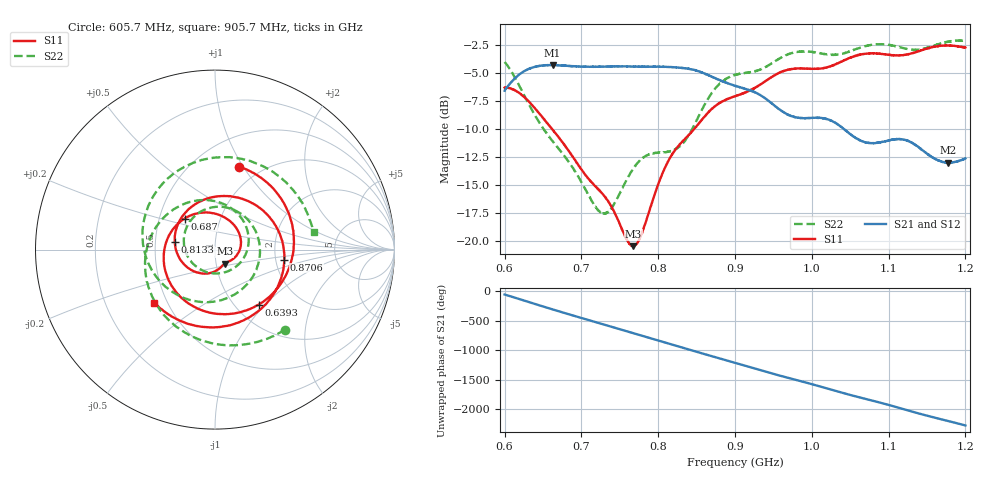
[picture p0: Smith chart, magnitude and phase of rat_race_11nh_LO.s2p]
# Hz S DB R 50
! CMT, M5065, 19127446, 23.4.5/2
! Date: 25/9/2024 16:14:58
! Data: Format (Calibration Info)
! Freq	S11:dB/Ang(--)	S21:dB/Ang(--)	S12:dB/Ang(--)	S22:dB/Ang(--)
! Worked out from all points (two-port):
!   2001 points, 600 MHz to 1.2 GHz, reference 50 ohm
!   highest |S21| = -4.30 dB at 662.4 MHz (marker M1); lowest = -13.0 dB at 1.177 GHz (marker M2)
!   |S21| within 3 dB of the highest: start of sweep to 939.8 MHz
!   lowest |S11| = -20.5 dB at 767.7 MHz (marker M3), VSWR 1.21, Z = 55 - j8.66 ohm
!   |S11| at or under -10 dB: 661.6 MHz to 846.8 MHz (185.3 MHz wide, 24.6 % of centre)
!   |S22| runs from -17.6 to -2.1 dB; largest |S21 - S12| = 0.012
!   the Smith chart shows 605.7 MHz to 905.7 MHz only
!   S11 on the Smith chart (normalised r, x): 605.7 MHz: 0.80, +0.96; 639.3 MHz: 1.27, -0.92; 687 MHz: 0.67, +0.25; 813.3 MHz: 0.63, +0.05; 870.6 MHz: 2.23, -0.29; 905.7 MHz: 0.42, -0.31
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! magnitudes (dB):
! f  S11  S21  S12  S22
! 600 MHz  -6.3  -6.6  -6.7  -4.0
! 605.7 MHz  -6.4  -6.1  -6.2  -4.6
! 639.3 MHz  -8.1  -4.5  -4.4  -8.8
! 662.4 MHz  -10.1  -4.3  -4.3  -11.1
! 687 MHz  -12.3  -4.4  -4.5  -13.3
! 700.2 MHz  -13.6  -4.4  -4.5  -14.8
! 731.1 MHz  -16.1  -4.4  -4.4  -17.5
! 767.7 MHz  -20.5  -4.4  -4.5  -13.5
! 778.2 MHz  -19.4  -4.5  -4.5  -12.7
! 800.1 MHz  -14.9  -4.5  -4.5  -12.1
! 813.3 MHz  -12.8  -4.5  -4.5  -12.0
! 835.5 MHz  -10.8  -4.6  -4.5  -11.0
! 870.6 MHz  -8.2  -5.4  -5.5  -6.7
! 900 MHz  -7.1  -6.2  -6.1  -5.2
! 905.7 MHz  -7.0  -6.3  -6.2  -5.1
! 967.8 MHz  -4.8  -8.7  -8.8  -3.4
! 1 GHz  -4.6  -9.0  -8.9  -3.1
! 1.064 GHz  -3.4  -11.1  -11.1  -2.7
! 1.1 GHz  -3.4  -11.0  -10.9  -2.5
! 1.125 GHz  -3.4  -11.1  -11.1  -2.9
! 1.177 GHz  -2.6  -13.0  -12.9  -2.2
! 1.2 GHz  -2.8  -12.6  -12.6  -2.2
